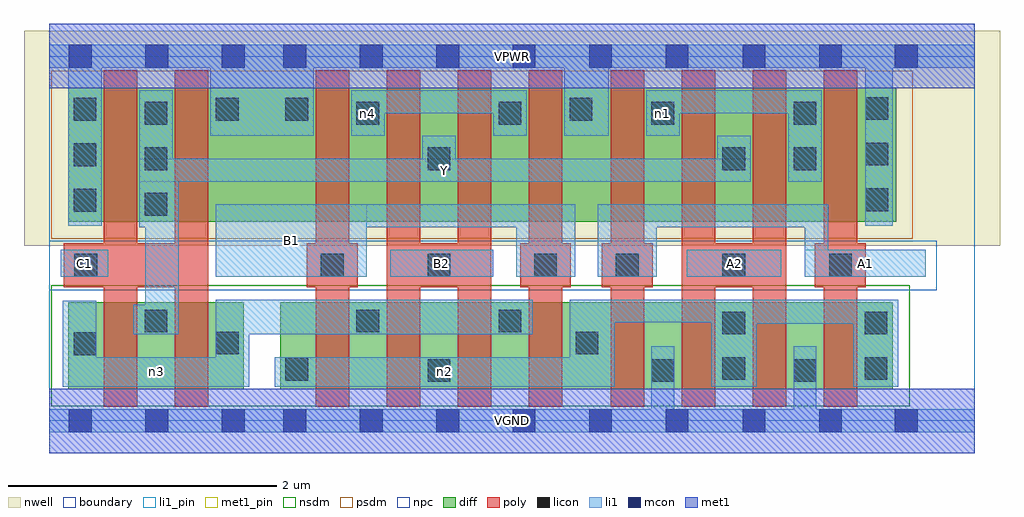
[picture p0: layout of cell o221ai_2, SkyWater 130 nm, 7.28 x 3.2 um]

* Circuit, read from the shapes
.subckt o221ai_2 A1 A2 B1 B2 C1 VGND VPWR Y n1 n2 n3 n4
XM1 Y C1 n3 VSUBS sky130_fd_pr__nfet_01v8 w=0.65 l=0.25 m=2
XM2 n3 B1 n2 VSUBS sky130_fd_pr__nfet_01v8 w=0.65 l=0.25 m=2
XM3 n2 B2 n3 VSUBS sky130_fd_pr__nfet_01v8 w=0.65 l=0.25 m=2
XM4 VGND A1 n2 VSUBS sky130_fd_pr__nfet_01v8 w=0.65 l=0.25 m=2
XM5 n2 A2 VGND VSUBS sky130_fd_pr__nfet_01v8 w=0.65 l=0.25 m=2
XM6 Y C1 VPWR n5 sky130_fd_pr__pfet_01v8 w=1 l=0.25 m=2
XM7 n4 B1 VPWR n5 sky130_fd_pr__pfet_01v8 w=1 l=0.25 m=2
XM8 Y B2 n4 n5 sky130_fd_pr__pfet_01v8 w=1 l=0.25 m=2
XM9 n1 A1 VPWR n5 sky130_fd_pr__pfet_01v8 w=1 l=0.25 m=2
XM10 Y A2 n1 n5 sky130_fd_pr__pfet_01v8 w=1 l=0.25 m=2
.ends

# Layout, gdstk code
import gdstk
lib = gdstk.Library(unit=1e-6, precision=1e-09)
def R(c, l, rs):  # rectangles x0, y0, x1, y1
    for r in rs: c.add(gdstk.rectangle(r[:2], r[2:], *l))
def A(c, l, x, y, w, h, nx, ny, dx, dy):  # array of equal rectangles
    R(c, l, [(x+i*dx, y+j*dy, x+i*dx+w, y+j*dy+h) for i in range(nx) for j in range(ny)])
nwell = (64, 20)
diff = (65, 20)
poly = (66, 20)
licon = (66, 44)
li1_pin = (67, 16)
li1 = (67, 20)
mcon = (67, 44)
met1_pin = (68, 16)
met1 = (68, 20)
nsdm = (93, 44)
psdm = (94, 20)
npc = (95, 20)
boundary = (235, 4)

o221ai_2 = lib.new_cell('o221ai_2')
R(o221ai_2, nwell, [(-0.19,1.305,7.09,2.91), (0,1.305,6.9,2.91)])
R(o221ai_2, diff, [(0.14,0.235,1.45,0.885), (1.72,0.235,6.29,0.885), (0.14,1.485,6.315,2.485)])
A(o221ai_2, poly, 1.985, 0.105, 0.25, 2.51, 4, 1, 0.53, 0)
A(o221ai_2, poly, 4.185, 0.105, 0.25, 2.51, 4, 1, 0.53, 0)
R(o221ai_2, poly, [(0.405,0.105,0.655,2.615), (0.935,0.105,1.185,2.615), (0.105,0.995,1.185,1.325), (1.92,0.995,2.3,1.325), (2.515,0.995,3.295,1.325), (3.51,0.995,3.89,1.325), (4.12,0.995,4.5,1.325), (4.715,0.995,5.495,1.325), (5.71,0.995,6.09,1.325)])
A(o221ai_2, licon, 2.025, 1.075, 0.17, 0.17, 3, 1, 0.795, 0)
A(o221ai_2, licon, 4.225, 1.075, 0.17, 0.17, 3, 1, 0.795, 0)
A(o221ai_2, licon, 0.71, 1.53, 0.17, 0.17, 1, 3, 0, 0.34)
A(o221ai_2, licon, 0.18, 1.56, 0.17, 0.17, 1, 3, 0, 0.34)
A(o221ai_2, licon, 6.085, 1.565, 0.17, 0.17, 1, 3, 0, 0.34)
R(o221ai_2, licon, [(2.82,0.29,2.99,0.46), (4.49,0.29,4.66,0.46), (5.55,0.29,5.72,0.46), (1.76,0.3,1.93,0.47), (5.02,0.305,5.19,0.475), (6.08,0.305,6.25,0.475), (0.18,0.49,0.35,0.66), (1.24,0.495,1.41,0.665), (3.925,0.495,4.095,0.665), (5.02,0.645,5.19,0.815), (6.08,0.645,6.25,0.815), (0.71,0.66,0.88,0.83), (2.29,0.66,2.46,0.83), (3.35,0.66,3.52,0.83), (0.185,1.075,0.355,1.245), (2.82,1.87,2.99,2.04), (5.02,1.87,5.19,2.04), (5.55,1.87,5.72,2.04), (2.29,2.21,2.46,2.38), (3.35,2.21,3.52,2.38), (4.49,2.21,4.66,2.38), (5.55,2.21,5.72,2.38), (1.24,2.24,1.41,2.41), (1.76,2.24,1.93,2.41), (3.88,2.24,4.05,2.41)])
R(o221ai_2, li1_pin, [(0.085,1.075,0.44,1.275), (1.24,1.075,2.365,1.615), (2.54,1.075,3.31,1.275), (4.755,1.075,5.46,1.275), (5.635,1.075,6.535,1.275), (0.67,1.785,5.23,1.955)])
R(o221ai_2, li1, [(0,-0.085,6.9,0.085), (4.49,-0.085,4.66,0.555), (5.55,-0.085,5.72,0.555), (0.1,0.255,1.49,0.475), (0.1,0.255,0.35,0.895), (1.24,0.255,1.49,0.905), (1.68,0.255,4.215,0.475), (3.88,0.255,4.215,0.905), (4.935,0.255,5.275,0.905), (5.995,0.255,6.33,0.905), (0.625,0.645,0.965,0.865), (0.715,0.645,0.965,1.955), (1.24,0.645,3.605,0.905), (4.935,0.725,6.33,0.905), (3.88,0.735,6.33,0.905), (0.085,1.075,0.44,1.275), (1.24,1.075,2.365,1.615), (2.54,1.075,3.31,1.275), (3.48,1.075,3.92,1.615), (4.09,1.075,4.53,1.615), (4.755,1.075,5.46,1.275), (5.635,1.075,6.535,1.275), (5.635,1.075,5.81,1.615), (0.67,1.445,0.92,2.465), (1.24,1.445,3.92,1.615), (4.09,1.445,5.81,1.615), (0.14,1.455,0.39,2.805), (6.085,1.455,6.29,2.805), (0.67,1.785,5.23,1.955), (2.78,1.785,3.03,2.125), (4.98,1.785,5.23,2.125), (5.51,1.785,5.76,2.465), (1.2,2.125,1.97,2.805), (2.25,2.125,2.5,2.465), (3.31,2.125,3.56,2.465), (3.84,2.125,4.17,2.805), (4.45,2.125,4.7,2.465), (2.25,2.295,3.56,2.465), (4.45,2.295,5.76,2.465), (0,2.635,6.9,2.805)])
A(o221ai_2, mcon, 0.145, -0.085, 0.17, 0.17, 3, 2, 0.57, 2.72)
A(o221ai_2, mcon, 1.745, -0.085, 0.17, 0.17, 6, 2, 0.57, 2.72)
R(o221ai_2, mcon, [(5.17,-0.085,5.34,0.085), (5.74,-0.085,5.91,0.085), (6.305,-0.085,6.475,0.085), (5.17,2.635,5.34,2.805), (5.74,2.635,5.91,2.805), (6.305,2.635,6.475,2.805)])
R(o221ai_2, met1_pin, [(0,-0.24,6.9,0.24), (0,2.48,6.9,2.96)])
R(o221ai_2, met1, [(0,-0.24,6.9,0.24), (0,2.48,6.9,2.96)])
R(o221ai_2, nsdm, [(0.015,0.11,6.415,1.01)])
R(o221ai_2, psdm, [(0.015,1.36,6.44,2.61)])
R(o221ai_2, npc, [(0,0.975,6.62,1.345)])
R(o221ai_2, boundary, [(0,0,6.9,2.72)])
o221ai_2.add(gdstk.Label('A1', (6.085,1.175), layer=67, texttype=5))
o221ai_2.add(gdstk.Label('A2', (5.107,1.175), layer=67, texttype=5))
o221ai_2.add(gdstk.Label('B1', (1.802,1.345), layer=67, texttype=5))
o221ai_2.add(gdstk.Label('B2', (2.925,1.175), layer=67, texttype=5))
o221ai_2.add(gdstk.Label('C1', (0.262,1.175), layer=67, texttype=5))
o221ai_2.add(gdstk.Label('Y', (2.95,1.87), layer=67, texttype=5))
o221ai_2.add(gdstk.Label('n3', (0.795,0.365), layer=67, texttype=5))
o221ai_2.add(gdstk.Label('n2', (2.947,0.365), layer=67, texttype=5))
o221ai_2.add(gdstk.Label('n4', (2.375,2.295), layer=67, texttype=5))
o221ai_2.add(gdstk.Label('n1', (4.575,2.295), layer=67, texttype=5))
o221ai_2.add(gdstk.Label('VPWR', (3.45,2.72), layer=68, texttype=5))
o221ai_2.add(gdstk.Label('VGND', (3.45,0), layer=68, texttype=5))
o221ai_2.add(gdstk.Label('A1', (6.085,1.175), layer=67, texttype=16))
o221ai_2.add(gdstk.Label('A2', (5.107,1.175), layer=67, texttype=16))
o221ai_2.add(gdstk.Label('B1', (1.802,1.345), layer=67, texttype=16))
o221ai_2.add(gdstk.Label('B2', (2.925,1.175), layer=67, texttype=16))
o221ai_2.add(gdstk.Label('C1', (0.262,1.175), layer=67, texttype=16))
o221ai_2.add(gdstk.Label('Y', (2.95,1.87), layer=67, texttype=16))
o221ai_2.add(gdstk.Label('VPWR', (3.45,2.72), layer=68, texttype=16))
o221ai_2.add(gdstk.Label('VGND', (3.45,0), layer=68, texttype=16))

lib.write_gds('o221ai_2.gds')
